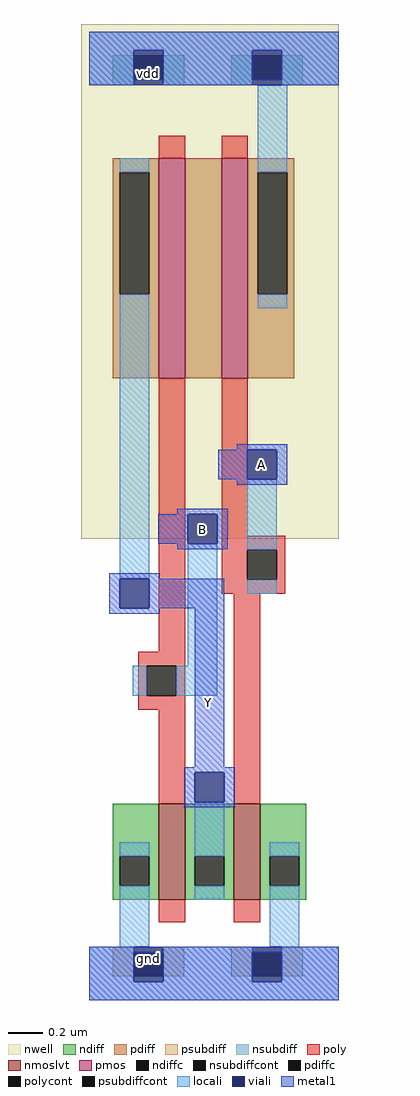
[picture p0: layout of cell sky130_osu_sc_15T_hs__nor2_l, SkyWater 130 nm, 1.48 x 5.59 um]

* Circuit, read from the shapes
.subckt sky130_osu_sc_15T_hs__nor2_l Y A B
XM1 Y B gnd gnd sky130_fd_pr__nfet_01v8_lvt w=0.55 l=0.15
XM2 gnd A Y gnd sky130_fd_pr__nfet_01v8_lvt w=0.55 l=0.15
XM3 n1 B Y vdd sky130_fd_pr__pfet_01v8 w=1.26 l=0.15
XM4 vdd A n1 vdd sky130_fd_pr__pfet_01v8 w=1.26 l=0.15
.ends

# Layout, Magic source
magic
tech sky130A
magscale 1 2
<< nwell >>
rect -9 529 286 1119
<< nmoslvt >>
rect 80 115 110 225
rect 166 115 196 225
<< pmos >>
rect 80 713 110 965
rect 152 713 182 965
<< ndiff >>
rect 27 165 80 225
rect 27 131 35 165
rect 69 131 80 165
rect 27 115 80 131
rect 110 165 166 225
rect 110 131 121 165
rect 155 131 166 165
rect 110 115 166 131
rect 196 165 249 225
rect 196 131 207 165
rect 241 131 249 165
rect 196 115 249 131
<< pdiff >>
rect 27 949 80 965
rect 27 809 35 949
rect 69 809 80 949
rect 27 713 80 809
rect 110 713 152 965
rect 182 949 235 965
rect 182 809 193 949
rect 227 809 235 949
rect 182 713 235 809
<< ndiffc >>
rect 35 131 69 165
rect 121 131 155 165
rect 207 131 241 165
<< pdiffc >>
rect 35 809 69 949
rect 193 809 227 949
<< psubdiff >>
rect 27 27 51 61
rect 85 27 109 61
rect 163 27 187 61
rect 221 27 245 61
<< nsubdiff >>
rect 27 1049 51 1083
rect 85 1049 109 1083
rect 163 1049 187 1083
rect 221 1049 245 1083
<< psubdiffcont >>
rect 51 27 85 61
rect 187 27 221 61
<< nsubdiffcont >>
rect 51 1049 85 1083
rect 187 1049 221 1083
<< poly >>
rect 80 965 110 991
rect 152 965 182 991
rect 80 399 110 713
rect 152 532 182 713
rect 152 516 225 532
rect 152 482 181 516
rect 215 482 225 516
rect 152 466 225 482
rect 56 383 110 399
rect 56 349 66 383
rect 100 349 110 383
rect 56 333 110 349
rect 80 225 110 333
rect 166 225 196 466
rect 80 89 110 115
rect 166 89 196 115
<< polycont >>
rect 181 482 215 516
rect 66 349 100 383
<< locali >>
rect 0 1089 286 1110
rect 0 1049 51 1089
rect 85 1049 187 1089
rect 221 1049 286 1089
rect 35 949 69 965
rect 35 483 69 809
rect 193 949 227 1049
rect 193 793 227 809
rect 113 383 147 523
rect 181 516 215 597
rect 181 466 215 482
rect 50 349 66 383
rect 100 349 147 383
rect 35 165 69 181
rect 35 61 69 131
rect 121 165 155 227
rect 121 115 155 131
rect 207 165 241 181
rect 207 61 241 131
rect 0 21 51 61
rect 85 21 187 61
rect 221 21 286 61
rect 0 0 286 21
<< viali >>
rect 51 1083 85 1089
rect 51 1055 85 1083
rect 187 1083 221 1089
rect 187 1055 221 1083
rect 181 597 215 631
rect 35 449 69 483
rect 113 523 147 557
rect 121 227 155 261
rect 51 27 85 55
rect 51 21 85 27
rect 187 27 221 55
rect 187 21 221 27
<< metal1 >>
rect 0 1089 286 1110
rect 0 1055 51 1089
rect 85 1055 187 1089
rect 221 1055 286 1089
rect 0 1049 286 1055
rect 169 631 227 637
rect 148 597 181 631
rect 215 597 227 631
rect 169 591 227 597
rect 101 557 159 563
rect 79 523 113 557
rect 147 523 159 557
rect 101 517 159 523
rect 23 483 81 489
rect 23 449 35 483
rect 69 449 155 483
rect 23 443 81 449
rect 121 267 155 449
rect 109 261 167 267
rect 109 227 121 261
rect 155 227 167 261
rect 109 221 167 227
rect 0 55 286 61
rect 0 21 51 55
rect 85 21 187 55
rect 221 21 286 55
rect 0 0 286 21
<< labels >>
rlabel metal1 137 341 137 341 1 Y
port 1 n
rlabel viali 198 614 198 614 1 A
port 2 n
rlabel viali 130 540 130 540 1 B
port 3 n
rlabel viali 68 48 68 48 1 gnd
rlabel viali 68 1062 68 1062 1 vdd
<< end >>
